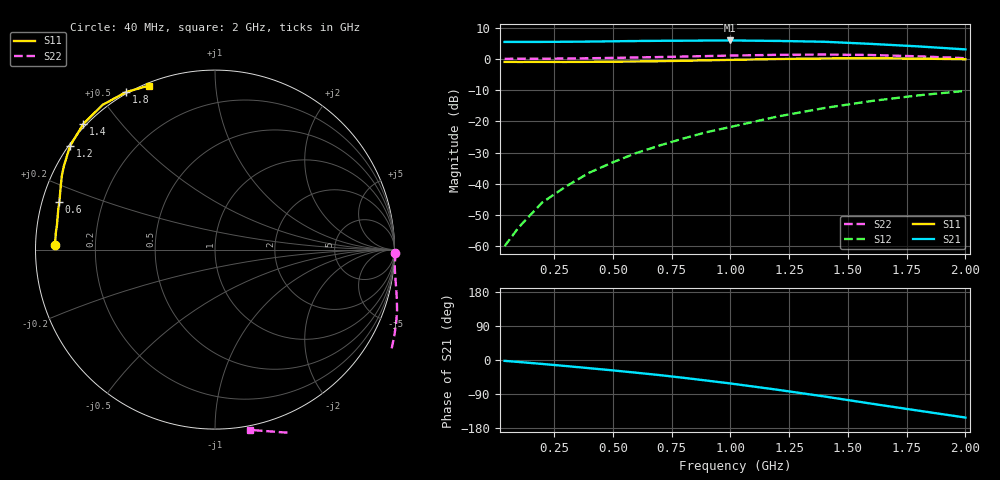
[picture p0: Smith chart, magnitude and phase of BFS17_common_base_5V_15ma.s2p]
! Filename:  BFS17CBD.S2P  Version:  2.0
! Philips part #: BFS17  Date: Jul 1990
! Bias condition: Vce=5V, Ic=15mA
! COMMON BASE
#  MHz  S  MA  R  50
! Freq  S11  S21  S12  S22
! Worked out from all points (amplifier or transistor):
!   16 points, 40 MHz to 2 GHz, reference 50 ohm
!   highest |S21| = 5.9 dB at 1 GHz (marker M1)
!   |S21| within 3 dB of that: start of sweep to end of sweep
!   unconditionally stable (mu >= 1): nowhere
!   at 200 MHz: K = -0.48, MSG = 25.7 dB, |S12| = -46.0 dB
!   at 800 MHz: K = -0.78, MSG = 15.7 dB, |S12| = -25.5 dB
!   at 2 GHz: K = 0.00, MSG = 6.6 dB, |S12| = -10.3 dB
!   S11 on the Smith chart (normalised r, x): 40 MHz: 0.06, +0.01; 600 MHz: 0.05, +0.15; 1.2 GHz: 0.00, +0.32; 1.4 GHz: -0.01, +0.40; 1.8 GHz: -0.01, +0.58; 2 GHz: 0.01, +0.68
40  0.893 178.5  1.865 -2.3  0.001 69.9  1.001 -1.0
100  0.891 177.1  1.865 -5.2  0.002 97.6  1.005 -2.3
200  0.892 174.2  1.868 -10.4  0.005 114.7  1.005 -4.8
300  0.891 171.3  1.876 -15.9  0.009 123.9  1.011 -7.3
400  0.895 168.5  1.889 -21.6  0.015 129.5  1.022 -10.0
500  0.901 165.8  1.909 -27.4  0.022 134.4  1.035 -12.6
600  0.907 163.0  1.929 -33.5  0.031 136.4  1.051 -15.4
700  0.917 160.3  1.944 -39.9  0.041 137.8  1.069 -18.4
800  0.931 157.3  1.951 -46.9  0.053 137.8  1.087 -21.7
900  0.947 154.3  1.962 -54.3  0.067 137.7  1.107 -25.4
1000  0.962 151.1  1.969 -61.9  0.081 137.0  1.128 -29.2
1200  0.993 144.4  1.935 -78.4  0.119 133.6  1.158 -38.0
1400  1.014 136.3  1.876 -96.2  0.163 128.1  1.171 -47.7
1600  1.021 127.9  1.734 -115.2  0.211 122.0  1.151 -57.9
1800  1.008 119.5  1.581 -133.6  0.26 114.6  1.097 -68.4
2000  0.985 111.9  1.416 -151.9  0.307 107.5  1.024 -78.9
